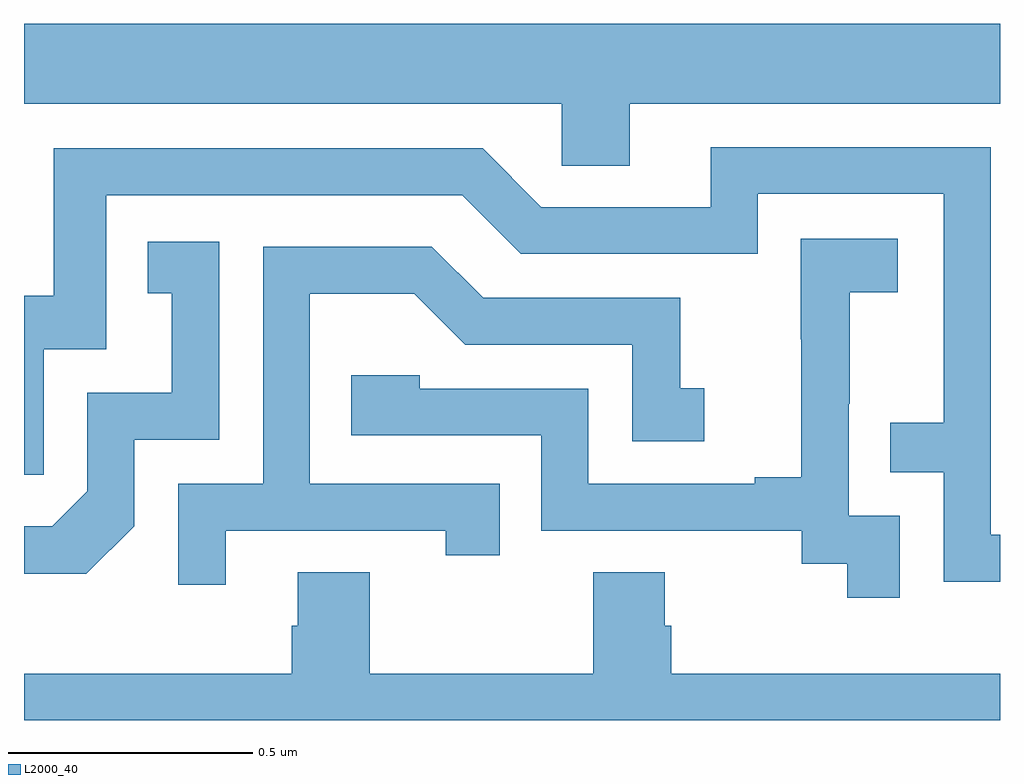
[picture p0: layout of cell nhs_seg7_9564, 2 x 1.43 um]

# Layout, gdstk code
import gdstk
lib = gdstk.Library(unit=1e-6, precision=1e-09)
def P(c, l, *ps):  # polygons
    for p in ps: c.add(gdstk.Polygon(p, *l))
L2000_40 = (2000, 40)

nhs_seg7_9564 = lib.new_cell('nhs_seg7_9564')
P(nhs_seg7_9564, L2000_40, [(240.241,1019.264),(241,1019.264),(241,1019.428),(239,1019.428),(239,1019.264),(240.102,1019.264),(240.102,1019.137),(240.241,1019.137)],
  [(241,1018.38),(240.981,1018.38),(240.981,1019.175),(240.407,1019.175),(240.407,1019.052),(240.06,1019.052),(239.94,1019.172),(239.061,1019.172),(239.061,1018.87),(239,1018.87),(239,1018.503),(239.04,1018.503),(239.04,1018.761),(239.169,1018.761),(239.169,1019.076),(239.898,1019.076),(240.018,1018.956),(240.504,1018.956),(240.504,1019.079),(240.885,1019.079),(240.885,1018.61),(240.775,1018.61),(240.775,1018.509),(240.885,1018.509),(240.885,1018.284),(241,1018.284)],
  [(240.795,1018.419),(240.69,1018.419),(240.69,1018.649),(240.692,1018.649),(240.692,1018.877),(240.79,1018.877),(240.79,1018.987),(240.592,1018.987),(240.592,1018.781),(240.593,1018.781),(240.593,1018.498),(240.497,1018.498),(240.497,1018.485),(240.156,1018.485),(240.156,1018.68),(239.811,1018.68),(239.811,1018.707),(239.671,1018.707),(239.671,1018.584),(240.06,1018.584),(240.06,1018.389),(240.594,1018.389),(240.594,1018.321),(240.687,1018.321),(240.687,1018.251),(240.795,1018.251)],
  [(239.226,1018.398),(239.226,1018.575),(239.4,1018.575),(239.4,1018.981),(239.254,1018.981),(239.254,1018.875),(239.303,1018.875),(239.303,1018.671),(239.13,1018.671),(239.13,1018.47),(239.058,1018.398),(239,1018.398),(239,1018.301),(239.128,1018.301)],
  [(239.413,1018.389),(239.864,1018.389),(239.864,1018.338),(239.975,1018.338),(239.975,1018.485),(239.586,1018.485),(239.586,1018.874),(239.8,1018.874),(239.904,1018.77),(240.246,1018.77),(240.246,1018.572),(240.394,1018.572),(240.394,1018.681),(240.345,1018.681),(240.345,1018.866),(239.941,1018.866),(239.836,1018.971),(239.49,1018.971),(239.49,1018.485),(239.316,1018.485),(239.316,1018.278),(239.413,1018.278)],
  [(241,1018.096),(240.326,1018.096),(240.326,1018.194),(240.313,1018.194),(240.313,1018.304),(240.166,1018.304),(240.166,1018.096),(239.709,1018.096),(239.709,1018.304),(239.561,1018.304),(239.561,1018.194),(239.549,1018.194),(239.549,1018.096),(239,1018.096),(239,1018),(241,1018)])

lib.write_gds('nhs_seg7_9564.gds')
